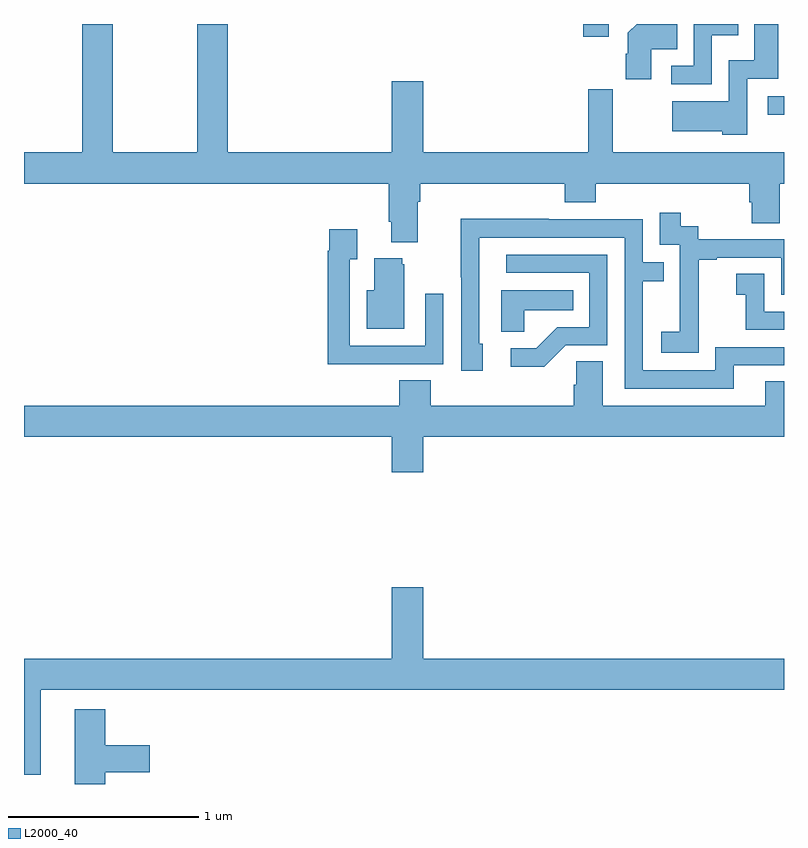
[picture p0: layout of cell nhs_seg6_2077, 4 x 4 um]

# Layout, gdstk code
import gdstk
lib = gdstk.Library(unit=1e-6, precision=1e-09)
def R(c, l, rs):  # rectangles x0, y0, x1, y1
    for r in rs: c.add(gdstk.rectangle(r[:2], r[2:], *l))
def P(c, l, *ps):  # polygons
    for p in ps: c.add(gdstk.Polygon(p, *l))
L2000_40 = (2000, 40)

nhs_seg6_2077 = lib.new_cell('nhs_seg6_2077')
R(nhs_seg6_2077, L2000_40, [(238.914,957.023,239,957.12), (237.944,957.432,238.078,957.5)])
P(nhs_seg6_2077, L2000_40, [(237.073,956.564),(237.086,956.564),(237.086,956.66),(237.845,956.66),(237.845,956.561),(238.01,956.561),(238.01,956.66),(238.817,956.66),(238.817,956.562),(238.829,956.562),(238.829,956.452),(238.977,956.452),(238.977,956.66),(239,956.66),(239,956.824),(238.099,956.824),(238.099,957.157),(237.97,957.157),(237.97,956.824),(237.1,956.824),(237.1,957.199),(236.936,957.199),(236.936,956.824),(236.072,956.824),(236.072,957.5),(235.912,957.5),(235.912,956.824),(235.467,956.824),(235.467,957.5),(235.307,957.5),(235.307,956.824),(235,956.824),(235,956.66),(236.921,956.66),(236.921,956.458),(236.933,956.458),(236.933,956.351),(237.073,956.351)],
  [(238.3,957.368),(238.439,957.368),(238.439,957.5),(238.224,957.5),(238.178,957.454),(238.178,957.344),(238.166,957.344),(238.166,957.21),(238.3,957.21)],
  [(238.62,957.44),(238.759,957.44),(238.759,957.5),(238.524,957.5),(238.524,957.279),(238.407,957.279),(238.407,957.183),(238.62,957.183)],
  [(238.806,957.213),(238.969,957.213),(238.969,957.5),(238.844,957.5),(238.844,957.31),(238.71,957.31),(238.71,957.094),(238.413,957.094),(238.413,956.936),(238.674,956.936),(238.674,956.918),(238.806,956.918)],
  [(238.551,955.975),(238.55,955.975),(238.55,956.259),(238.645,956.259),(238.645,956.271),(238.986,956.271),(238.986,956.076),(239,956.076),(239,956.367),(238.548,956.367),(238.548,956.436),(238.456,956.436),(238.456,956.506),(238.347,956.506),(238.347,956.337),(238.452,956.337),(238.452,956.108),(238.451,956.108),(238.451,955.879),(238.353,955.879),(238.353,955.769),(238.551,955.769)],
  [(238.735,955.704),(239,955.704),(239,955.8),(238.638,955.8),(238.638,955.677),(238.257,955.677),(238.257,956.146),(238.367,956.146),(238.367,956.247),(238.257,956.247),(238.257,956.472),(237.761,956.472),(237.761,956.474),(237.298,956.474),(237.298,956.167),(237.3,956.167),(237.3,955.674),(237.415,955.674),(237.415,955.818),(237.396,955.818),(237.396,956.376),(238.161,956.376),(238.161,955.581),(238.735,955.581)],
  [(236.891,955.71),(237.207,955.71),(237.207,956.08),(237.111,956.08),(237.111,955.806),(236.715,955.806),(236.715,956.263),(236.755,956.263),(236.755,956.419),(236.607,956.419),(236.607,956.306),(236.599,956.306),(236.599,955.709),(236.891,955.709)],
  [(237.852,955.809),(238.071,955.809),(238.071,956.286),(237.537,956.286),(237.537,956.19),(237.975,956.19),(237.975,955.905),(237.806,955.905),(237.695,955.794),(237.561,955.794),(237.561,955.697),(237.739,955.697)],
  [(237.001,956.235),(236.99,956.235),(236.99,956.266),(236.843,956.266),(236.843,956.098),(236.804,956.098),(236.804,955.895),(237.001,955.895)],
  [(239,955.986),(238.896,955.986),(238.896,956.185),(238.749,956.185),(238.749,956.075),(238.798,956.075),(238.798,955.89),(239,955.89)],
  [(237.633,955.994),(237.89,955.994),(237.89,956.098),(237.512,956.098),(237.512,955.879),(237.633,955.879)],
  [(237.1,955.328),(239,955.328),(239,955.619),(238.901,955.619),(238.901,955.492),(238.045,955.492),(238.045,955.724),(237.906,955.724),(237.906,955.601),(237.893,955.601),(237.893,955.492),(237.14,955.492),(237.14,955.625),(236.975,955.625),(236.975,955.492),(235,955.492),(235,955.328),(236.936,955.328),(236.936,955.14),(237.1,955.14)],
  [(235.088,953.996),(239,953.996),(239,954.16),(237.1,954.16),(237.1,954.535),(236.936,954.535),(236.936,954.16),(235,954.16),(235,953.55),(235.088,953.55)],
  [(235.427,953.561),(235.663,953.561),(235.663,953.703),(235.427,953.703),(235.427,953.893),(235.268,953.893),(235.268,953.5),(235.427,953.5)])

lib.write_gds('nhs_seg6_2077.gds')
